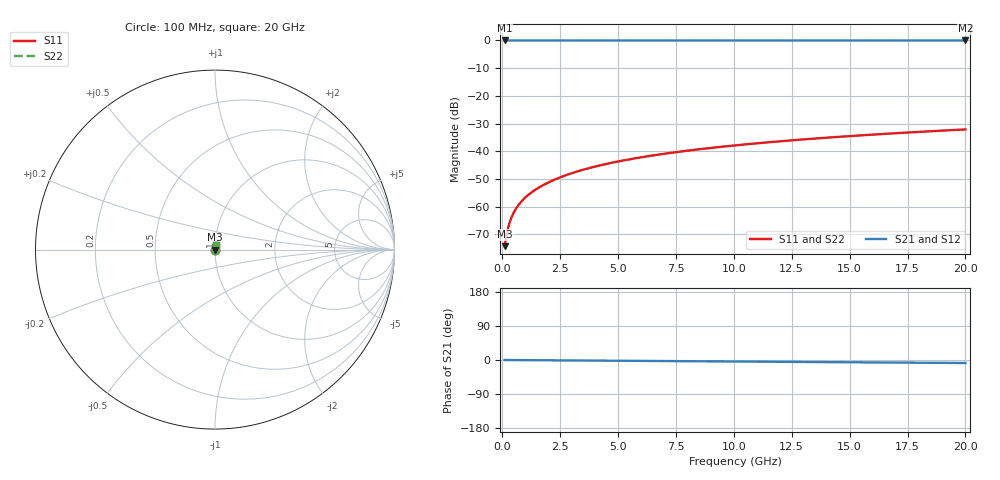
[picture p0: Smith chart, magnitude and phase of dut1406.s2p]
! Touchstone file exported from HFSS 2026.1.0
!  File:  C:/ffzhzh/LocalFiles/Ansys_Project_Files/temp_train_TSV_1406_1783196938_43440.aedt
!  Generated:  04:30:29 AM Jul  5, 2026
!  Design:  TSV
!  Project:  temp_train_TSV_1406_1783196938_43440
! Variables:
!  h_bsmrdl = 2um
!  h_ox = 20um
!  h_rdl = 5um
!  h_sub = 74.8um
!  h_tmrdl = 5um
!  h_tsv = 74.8um
!  h_via = 3um
!  l_bsmrdl = 300um
!  l_sub = 421.56um
!  l_tmrdl = 200um
!  m_sub = 200um
!  pitch = 53.07um
!  r_tsv = 10.78um
!  s_tmrdl = 10um
!  w_bsmrdl = 18um
!  w_sub = 500um
!  w_tmrdl = 12um
!  x_tsv_center1 = 206um
!  x_tsv_center2 = 524um
!  x_tsv_center3 = 736um
!  x_tsv_center4 = 1054um
!  x_tsv_center5 = 1266um
!  x_tsv_center6 = 1584um
# GHz S MA R 50.000000
! Terminal data exported
! Port[1] = TSV1_1_T1
! Port[2] = TSV1_1_T2
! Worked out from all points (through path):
!   200 points, 100 MHz to 20 GHz, reference 50 ohm
!   highest |S21| = 0.00 dB at 100 MHz (marker M1); lowest = 0.0 dB at 20 GHz (marker M2)
!   group delay of S21, straight-line fit = 1.1 ps
!   lowest |S11| = -74.2 dB at 100 MHz (marker M3), VSWR 1.00, Z = 50 + j0.0163 ohm
!   |S11| at or under -10 dB: start of sweep to end of sweep
!   |S22| runs from -74.2 to -32.1 dB; largest |S21 - S12| = 3.2e-15
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0.1  0.0001944 56.8  0.9999 -0.0  0.9999 -0.0  0.0001944 56.8
! Gamma 0 0 0 0
! Port Impedance 50 0 50 0
0.2  0.0003436 70.0  0.9999 -0.1  0.9999 -0.1  0.0003436 70.0
0.3  0.0004973 74.4  0.9999 -0.1  0.9999 -0.1  0.0004973 74.4
0.4  0.0006483 76.3  0.9998 -0.2  0.9998 -0.2  0.0006483 76.3
0.5  0.000795 77.2  0.9998 -0.2  0.9998 -0.2  0.000795 77.2
0.6  0.0009373 77.8  0.9998 -0.2  0.9998 -0.2  0.0009373 77.8
0.7  0.001076 78.3  0.9998 -0.3  0.9998 -0.3  0.001076 78.3
0.9  0.001344 78.9  0.9997 -0.4  0.9997 -0.4  0.001344 78.9
1.1  0.001605 79.5  0.9997 -0.4  0.9997 -0.4  0.001605 79.5
1.3  0.001863 80.1  0.9997 -0.5  0.9997 -0.5  0.001863 80.1
1.6  0.002246 80.8  0.9997 -0.6  0.9997 -0.6  0.002246 80.8
1.9  0.002629 81.4  0.9996 -0.8  0.9996 -0.8  0.002629 81.4
2.6  0.00352 82.3  0.9996 -1.0  0.9996 -1.0  0.00352 82.3
3.5  0.004663 82.8  0.9995 -1.4  0.9995 -1.4  0.004663 82.8
4.2  0.005547 83.0  0.9995 -1.7  0.9995 -1.7  0.005547 83.0
5  0.006551 83.1  0.9994 -2.0  0.9994 -2.0  0.006551 83.1
6.8  0.00879 83.0  0.9993 -2.7  0.9993 -2.7  0.00879 83.0
8.3  0.01064 82.8  0.9992 -3.3  0.9992 -3.3  0.01064 82.8
10.1  0.01285 82.4  0.9991 -4.0  0.9991 -4.0  0.01285 82.4
13.4  0.01687 81.6  0.9989 -5.3  0.9989 -5.3  0.01687 81.6
16.7  0.02086 80.6  0.9988 -6.6  0.9988 -6.6  0.02086 80.5
20  0.02482 79.4  0.9986 -7.9  0.9986 -7.9  0.02482 79.4
